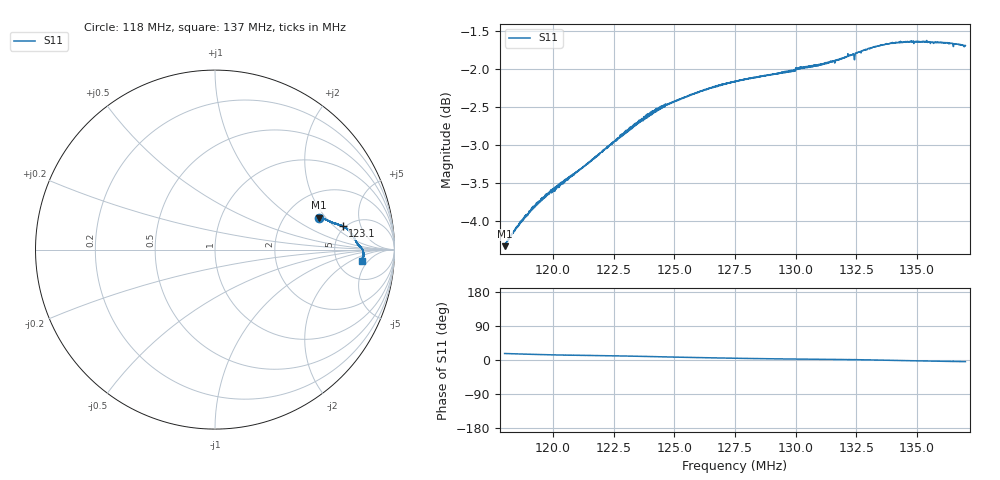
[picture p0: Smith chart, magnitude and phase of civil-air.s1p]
! Calibrated averaged scanner-service zoom
# Hz S RI R 50
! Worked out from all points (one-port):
!   2001 points, 118 MHz to 137 MHz, reference 50 ohm
!   lowest |S11| = -4.3 dB at 118 MHz (marker M1), VSWR 4.09, Z = 152 + j85.7 ohm
!   |S11| at or under -10 dB: nowhere
!   S11 on the Smith chart (normalised r, x): 118 MHz: 3.03, +1.71; 123.1 MHz: 4.77, +2.59; 137 MHz: 8.98, -3.45
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1.18e8  0.58 0.1784
1.18646e8  0.6058 0.1731
1.19178e8  0.623 0.166
1.198335e8  0.638 0.1573
1.20375e8  0.6522 0.1506
1.214865e8  0.674 0.1431
1.2275e8  0.7041 0.1335
1.231205e8  0.7115 0.1296
1.235385e8  0.7242 0.125
1.241845e8  0.7378 0.1149
1.25125e8  0.7512 0.0987
1.26531e8  0.7686 0.0773
1.275e8  0.7772 0.0638
1.285165e8  0.784 0.0498
1.29875e8  0.792 0.0354
1.30103e8  0.7935 0.0326
1.309675e8  0.7991 0.0261
1.315565e8  0.8038 0.0209
1.3225e8  0.8108 0.0148
1.323545e8  0.8122 0.0137
1.32497e8  0.8139 0.0115
1.32554e8  0.8146 0.0109
1.328105e8  0.8177 0.00734
1.334565e8  0.823 -0.00399
1.3396e8  0.8265 -0.0126
1.34625e8  0.8275 -0.025
1.361925e8  0.8253 -0.0509
1.37e8  0.821 -0.0619
